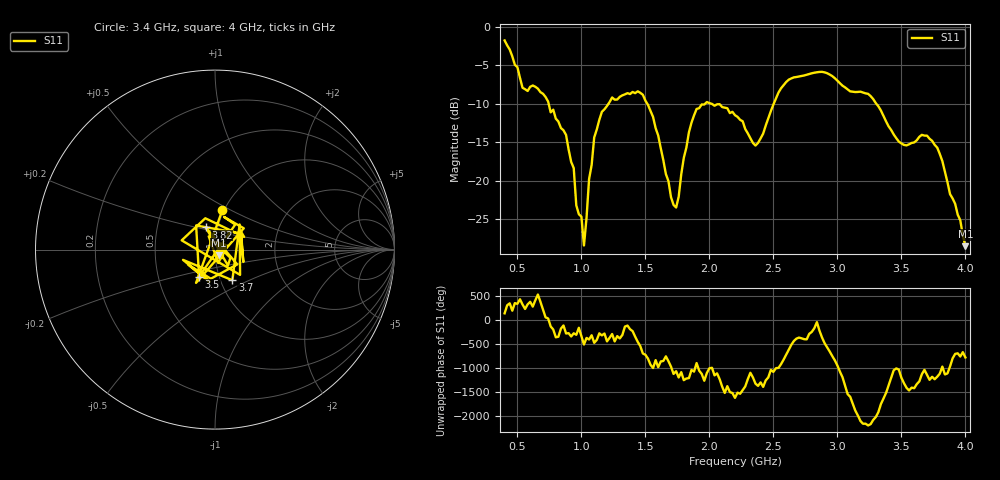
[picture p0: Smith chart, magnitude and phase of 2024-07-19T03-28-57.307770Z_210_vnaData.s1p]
!Created with skrf (http://scikit-rf.org).
# Hz S RI R 50.0
!freq ReS11 ImS11
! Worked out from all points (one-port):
!   181 points, 400 MHz to 4 GHz, reference 50 ohm
!   lowest |S11| = -28.5 dB at 4 GHz (marker M1), VSWR 1.08, Z = 52 - j3.25 ohm
!   |S11| at or under -10 dB: 744.1 MHz to 1.211 GHz (467.2 MHz wide, 47.8 % of centre); 2.016 GHz to 2.503 GHz (486.4 MHz wide, 21.5 % of centre); 3.304 GHz to end of sweep (the widest 3 of 4)
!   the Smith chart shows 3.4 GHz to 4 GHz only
!   S11 on the Smith chart (normalised r, x): 3.4 GHz: 0.98, +0.46; 3.5 GHz: 0.80, -0.25; 3.7 GHz: 1.14, -0.40; 3.82 GHz: 0.88, +0.22; 4 GHz: 1.04, -0.07
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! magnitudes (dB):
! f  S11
! 400 MHz  -1.8
! 540 MHz  -7.9
! 700 MHz  -8.7
! 860 MHz  -13.5
! 940 MHz  -18.4
! 960 MHz  -23.2
! 1 GHz  -24.7
! 1.02 GHz  -28.5
! 1.1 GHz  -14.4
! 1.16 GHz  -11.0
! 1.3 GHz  -9.1
! 1.48 GHz  -8.8
! 1.56 GHz  -11.7
! 1.72 GHz  -23.2
! 1.76 GHz  -22.1
! 1.84 GHz  -13.7
! 1.9 GHz  -10.7
! 2.2 GHz  -11.5
! 2.36 GHz  -15.4
! 2.66 GHz  -6.6
! 3.1 GHz  -8.4
! 3.26 GHz  -9.0
! 3.4 GHz  -12.9
! 3.5 GHz  -15.2
! 3.56 GHz  -15.3
! 3.7 GHz  -14.1
! 3.82 GHz  -17.5
! 4 GHz  -28.5
